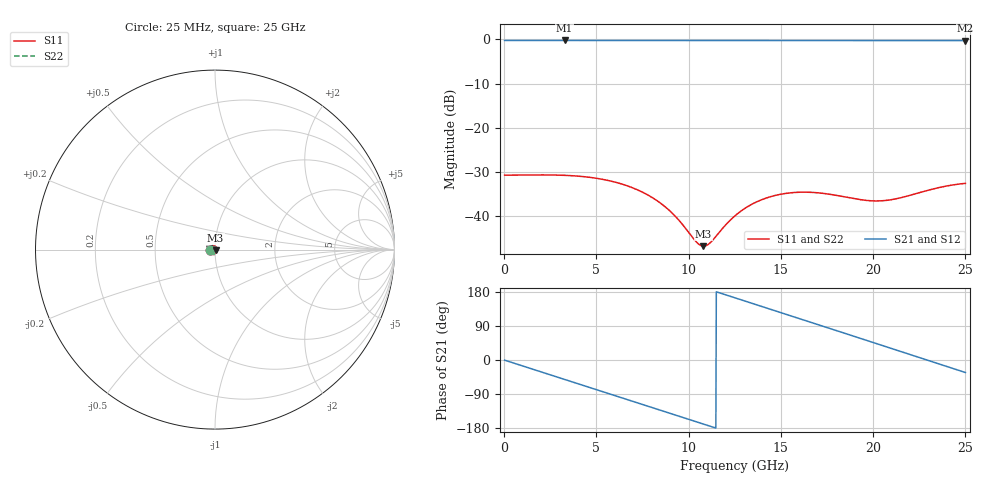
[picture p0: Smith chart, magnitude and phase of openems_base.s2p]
! thru_RG_ts6p_L1: 2×thru, L1, 8 mm
! stackup: ThunderScope Rev5.3 6-layer with the In2 plane
! ports: 1, 2
! openEMS 0.37.0, staircase, base mesh (dfine 0.07 mm), 139750 cells
# Hz S RI R 50
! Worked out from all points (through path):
!   1000 points, 25 MHz to 25 GHz, reference 50 ohm
!   highest |S21| = -0.26 dB at 3.275 GHz (marker M1); lowest = -0.3 dB at 25 GHz (marker M2)
!   group delay of S21, straight-line fit = 43.6 ps
!   lowest |S11| = -46.8 dB at 10.8 GHz (marker M3), VSWR 1.01, Z = 50.3 - j0.303 ohm
!   |S11| at or under -10 dB: start of sweep to end of sweep
!   |S22| runs from -46.8 to -30.7 dB; largest |S21 - S12| = 0
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2.5e7  -0.0291 0.000102  0.9707 -0.00662  0.9707 -0.00662  -0.0291 0.000102
1.6e9  -0.0284 0.00687  0.8796 -0.4104  0.8796 -0.4104  -0.0284 0.00687
3.275e9  -0.025 0.0147  0.6082 -0.7566  0.6082 -0.7566  -0.025 0.0147
4.2e9  -0.0211 0.0186  0.4 -0.8845  0.4 -0.8845  -0.0211 0.0186
5.225e9  -0.0151 0.0216  0.1401 -0.9605  0.1401 -0.9605  -0.0151 0.0216
6.25e9  -0.00791 0.0222  -0.1308 -0.9618  -0.1308 -0.9618  -0.00791 0.0222
7.275e9  -0.000804 0.0196  -0.3915 -0.8881  -0.3915 -0.8881  -0.000804 0.0196
8.35e9  0.00478 0.0139  -0.6319 -0.7365  -0.6319 -0.7365  0.00478 0.0139
9.625e9  0.00679 0.00469  -0.8453 -0.4763  -0.8453 -0.4763  0.00679 0.00469
1.0425e10  0.00502 -0.000831  -0.9285 -0.2813  -0.9285 -0.2813  0.00502 -0.000831
1.08e10  0.00345 -0.00301  -0.9524 -0.1847  -0.9524 -0.1847  0.00345 -0.00301
1.2525e10  -0.00736 -0.007  -0.9319 0.2688  -0.9319 0.2688  -0.00736 -0.007
1.36e10  -0.0138 -0.00359  -0.8136 0.5277  -0.8136 0.5277  -0.0138 -0.00359
1.4775e10  -0.0169 0.00398  -0.6045 0.7582  -0.6045 0.7582  -0.0169 0.00398
1.6675e10  -0.00947 0.016  -0.1459 0.9585  -0.1459 0.9585  -0.00947 0.016
1.7675e10  -0.00103 0.0176  0.1199 0.962  0.1199 0.962  -0.00103 0.0176
1.8675e10  0.00756 0.0143  0.3769 0.8929  0.3769 0.8929  0.00756 0.0143
2.085e10  0.0143 -0.0053  0.8148 0.524  0.8148 0.524  0.0143 -0.0053
2.19e10  0.00844 -0.0147  0.9303 0.2691  0.9303 0.2691  0.00844 -0.0147
2.29e10  -0.00133 -0.0194  0.9681 0.00496  0.9681 0.00496  -0.00133 -0.0194
2.39e10  -0.0123 -0.018  0.9324 -0.2596  0.9324 -0.2596  -0.0123 -0.018
2.5e10  -0.0215 -0.00947  0.8113 -0.5272  0.8113 -0.5272  -0.0215 -0.00947
